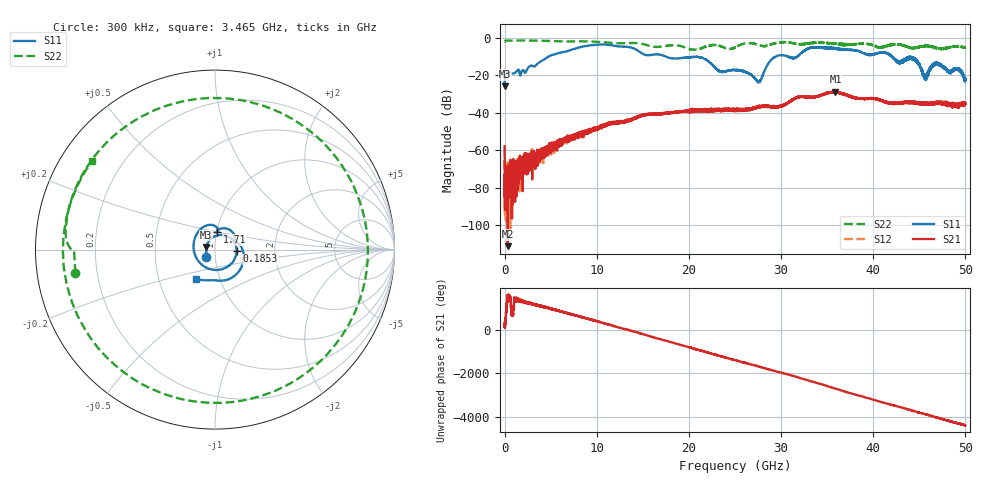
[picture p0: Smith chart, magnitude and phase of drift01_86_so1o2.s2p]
!Created with skrf (http://scikit-rf.org).
# Hz S RI R 50.0
!freq ReS11 ImS11 ReS21 ImS21 ReS12 ImS12 ReS22 ImS22
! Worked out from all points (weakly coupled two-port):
!   10001 points, 300 kHz to 50 GHz, reference 50 ohm
!   highest |S21| = -28.74 dB at 35.9 GHz (marker M1); lowest = -111.2 dB at 350.3 MHz (marker M2)
!   lowest |S11| = -25.8 dB at 5.3 MHz (marker M3), VSWR 1.11, Z = 45.3 + j1.39 ohm
!   |S11| at or under -10 dB: start of sweep to 4.766 GHz; 17.52 GHz to 29.39 GHz (11.87 GHz wide, 50.6 % of centre); 43.99 GHz to end of sweep (the widest 3 of 6)
!   |S22| runs from -6.4 to -1.4 dB; largest |S21 - S12| = 0.004
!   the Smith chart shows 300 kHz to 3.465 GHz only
!   S11 on the Smith chart (normalised r, x): 300 kHz: 0.91, -0.08; 185.3 MHz: 1.27, -0.02; 1.71 GHz: 1.00, +0.20; 3.465 GHz: 0.77, -0.26
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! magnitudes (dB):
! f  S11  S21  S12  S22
! 300 kHz  -24.0  -57.9  -65.5  -2.1
! 5.3 MHz  -25.8  -72.2  -75.4  -2.1
! 185.3 MHz  -18.4  -89.0  -87.9  -1.4
! 350.3 MHz  -18.4  -111.2  -80.4  -1.4
! 1.71 GHz  -20.0  -72.7  -69.0  -1.4
! 3.465 GHz  -14.3  -62.6  -64.7  -1.5
! 8.335 GHz  -4.8  -51.9  -50.5  -1.8
! 16.67 GHz  -8.8  -40.5  -40.6  -4.8
! 21.22 GHz  -10.3  -37.9  -38.9  -5.8
! 23.39 GHz  -18.0  -38.2  -38.2  -4.3
! 25 GHz  -17.0  -38.4  -38.3  -5.1
! 27.59 GHz  -23.3  -36.7  -36.8  -3.7
! 29.29 GHz  -10.3  -37.2  -36.6  -2.9
! 31.47 GHz  -10.8  -32.3  -32.3  -2.9
! 33.34 GHz  -5.1  -31.8  -31.7  -2.7
! 35.9 GHz  -5.7  -28.7  -29.0  -3.2
! 41.67 GHz  -8.6  -34.7  -34.7  -4.0
! 42.79 GHz  -12.9  -34.8  -34.8  -3.5
! 44.48 GHz  -10.9  -34.8  -34.4  -5.3
! 45.63 GHz  -20.5  -35.1  -35.2  -4.2
! 46.93 GHz  -13.5  -34.2  -34.3  -5.5
! 50 GHz  -21.7  -35.1  -35.1  -5.3
